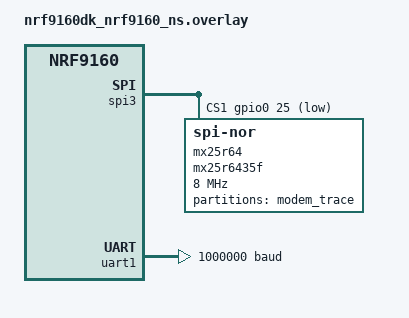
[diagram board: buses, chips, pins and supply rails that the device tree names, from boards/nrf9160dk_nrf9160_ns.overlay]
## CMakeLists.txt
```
#
# Copyright (c) 2022 Nordic Semiconductor
#
# SPDX-License-Identifier: LicenseRef-Nordic-5-Clause
#

cmake_minimum_required(VERSION 3.20.0)

find_package(Zephyr REQUIRED HINTS $ENV{ZEPHYR_BASE})
project(modem_trace_flash)

target_sources(app PRIVATE src/main.c)
```

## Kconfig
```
#
# Copyright (c) 2022 Nordic Semiconductor
#
# SPDX-License-Identifier: LicenseRef-Nordic-5-Clause
#

menu "Modem trace flash backend sample"

endmenu

module = MODEM_TRACE_FLASH_SAMPLE
module-str = Modem trace flash backend
source "$(ZEPHYR_BASE)/subsys/logging/Kconfig.template.log_config"

menu "Zephyr Kernel"
source "Kconfig.zephyr"
endmenu
```

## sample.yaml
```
sample:
  name: Modem trace external flash backend sample
tests:
  sample.cellular.modem_trace_flash:
    sysbuild: true
    build_only: true
    integration_platforms:
      - nrf9151dk/nrf9151/ns
    platform_allow:
      - nrf9151dk/nrf9151/ns
    tags:
      - ci_build
      - sysbuild
      - ci_samples_cellular
```

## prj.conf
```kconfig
#
# Copyright (c) 2022 Nordic Semiconductor ASA
#
# SPDX-License-Identifier: LicenseRef-Nordic-5-Clause
#

# TF-M config
CONFIG_TFM_PROFILE_TYPE_MINIMAL=y

# Allow the application to reboot
CONFIG_REBOOT=y

# Logging
CONFIG_LOG=y
CONFIG_MODEM_TRACE_FLASH_SAMPLE_LOG_LEVEL_DBG=y
CONFIG_MODEM_TRACE_BACKEND_LOG_LEVEL_DBG=y

#CONFIG_NRF_MODEM_LIB_TRACE_BITRATE_LOG=y
#CONFIG_NRF_MODEM_LIB_TRACE_BACKEND_BITRATE_LOG=y

# Modem library
CONFIG_NRF_MODEM_LIB=y

# LTE link control
CONFIG_LTE_LINK_CONTROL=y

# Modem trace
CONFIG_NRF_MODEM_LIB_TRACE=y
CONFIG_NRF_MODEM_LIB_TRACE_BACKEND_FLASH=y

# Flash config
CONFIG_FCB=y
CONFIG_FLASH=y
CONFIG_FLASH_MAP=y

CONFIG_NRF_MODEM_TRACE_FLASH_NOSPACE_SIGNAL=y

# Heap and stacks
CONFIG_HEAP_MEM_POOL_SIZE=2048
CONFIG_MAIN_STACK_SIZE=4096
CONFIG_SYSTEM_WORKQUEUE_STACK_SIZE=4096
CONFIG_NRF_MODEM_LIB_TRACE_STACK_SIZE=4096

# GPIO
CONFIG_GPIO=y

# Library for buttons and LEDs
CONFIG_DK_LIBRARY=y

# UART
CONFIG_SERIAL=y
```

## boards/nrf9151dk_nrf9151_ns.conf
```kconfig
#
# Copyright (c) 2024 Nordic Semiconductor ASA
#
# SPDX-License-Identifier: LicenseRef-Nordic-5-Clause
#

CONFIG_SPI=y
CONFIG_SPI_NOR=y
CONFIG_SPI_NOR_SFDP_DEVICETREE=y

# Reduce flash partition size to reduce erase time and flash usage.
CONFIG_NRF_MODEM_LIB_TRACE_BACKEND_FLASH_PARTITION_SIZE=0x100000
```

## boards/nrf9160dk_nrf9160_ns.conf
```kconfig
#
# Copyright (c) 2022 Nordic Semiconductor ASA
#
# SPDX-License-Identifier: LicenseRef-Nordic-5-Clause
#

CONFIG_SPI=y
CONFIG_SPI_NOR=y
CONFIG_SPI_NOR_SFDP_DEVICETREE=y

# Reduce flash partition size to reduce erase time and flash usage.
CONFIG_NRF_MODEM_LIB_TRACE_BACKEND_FLASH_PARTITION_SIZE=0x100000
```

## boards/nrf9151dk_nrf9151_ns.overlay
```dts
/*
 * Copyright (c) 2024 Nordic Semiconductor ASA
 *
 * SPDX-License-Identifier: LicenseRef-Nordic-5-Clause
 */

/* Enable high drive mode for the SPI3 pins to get a square signal at 8 MHz */
&spi3_default {
	group1 {
		nordic,drive-mode = <NRF_DRIVE_H0H1>;
	};
};

/* Enable UART1 at 1 megabaud for printing modem traces  */
&uart1 {
	status = "okay";
	current-speed = <1000000>;
};

/ {
	aliases {
		ext-flash = &gd25wb256;
	};

	/* Configure partition manager to use gd25wb256 as the external flash */
	chosen {
		nordic,pm-ext-flash = &gd25wb256;
	};
};

&gd25wb256 {
	status = "okay";

	partitions {
		compatible = "fixed-partitions";
		#address-cells = <1>;
		#size-cells = <1>;

		modem_trace: partition@0 {
			reg = <0x0 0x100000>; /* 1 MB */
		};
	};
};

/* Increase modem (shared) memory. */
&sram0_ns_modem {
	reg = <0x0 0x8800>;
	ranges = <0x0 0x0 0x8800>;

	/* Add modem IPC receive. */
	cpucell_cpuapp_ipc_shm_trace: sram0_ns_modem@47a8 {
		reg = <0x47a8 0x4000>;
	};
};

/* Delete Non-Secure application memory so we can move it. */
/delete-node/ &sram0_ns_app;

&sram0_ns {
	sram0_ns_app: sram0_ns@8800 {
		/* Redefine smaller Non-Secure application memory. */
		reg = <0x8800 0x2f800>;
	};
};
```

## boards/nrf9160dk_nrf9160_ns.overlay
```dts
/*
 * Copyright (c) 2022 Nordic Semiconductor ASA
 *
 * SPDX-License-Identifier: LicenseRef-Nordic-5-Clause
 */

#include <samples/cellular/nrf91_no_bootloader_partitions.dtsi>

#include <samples/cellular/nrf91_sram_partitions.dtsi>

/* Increase modem (shared) memory. */
&sram0_ns_modem {
	reg = <0x0 0x8800>;
	ranges = <0x0 0x0 0x8800>;

	cpucell_cpuapp_ipc_shm_trace: sram0_ns_modem@4800 {
		/* Modem trace memory */
		reg = <0x4800 0x4000>;
	};
};

/* Delete Non-Secure application memory so we can move and shrink it. */
/delete-node/ &sram0_ns_app;

&sram0_ns {
	sram0_ns_app: sram0_ns@8800 {
		/* Redefine smaller Non-Secure application memory. */
		reg = <0x8800 0x2f800>;
	};
};

/* The mx25r64 definition would normally be included when specifying a nrf9160dk_nrf9160_ns
 * board revision >= 0.14.0, but unfortunately twister has a bug that prevents the revision
 * overlay to get loaded when testing the sample.
 */
&spi3 {
	cs-gpios = <&arduino_header 16 GPIO_ACTIVE_LOW>, /* D10 */
		   <&gpio0 25 GPIO_ACTIVE_LOW>;

	mx25r64: mx25r6435f@1 {
		compatible = "jedec,spi-nor";
		reg = <1>;
		status = "okay";
		spi-max-frequency = <8000000>;
		jedec-id = [c2 28 17];
		sfdp-bfp = [e5 20 f1 ff ff ff ff 03 44 eb 08 6b 08 3b 04 bb
			    ee ff ff ff ff ff 00 ff ff ff 00 ff 0c 20 0f 52
			    10 d8 00 ff 23 72 f5 00 82 ed 04 cc 44 83 68 44
			    30 b0 30 b0 f7 c4 d5 5c 00 be 29 ff f0 d0 ff ff];
		size = <67108864>;
		mxicy,mx25r-power-mode = "high-performance";

		partitions {
			compatible = "fixed-partitions";
			#address-cells = <1>;
			#size-cells = <1>;

			modem_trace: partition@0 {
				label = "modem_trace";
				reg = <0x00000000 0x400000>;
			};
		};
	};
};

/* Enable UART1 at 1 megabaud for printing modem traces  */
&uart1 {
	status = "okay";
	current-speed = <1000000>;
};

/ {
	aliases {
		ext-flash = &mx25r64;
	};
};
```

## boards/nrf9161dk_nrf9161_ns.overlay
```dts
/*
 * Copyright (c) 2022 Nordic Semiconductor ASA
 *
 * SPDX-License-Identifier: LicenseRef-Nordic-5-Clause
 */

/* Enable high drive mode for the SPI3 pins to get a square signal at 8 MHz */
&spi3_default {
	group1 {
		nordic,drive-mode = <NRF_DRIVE_H0H1>;
	};
};

/* Enable UART1 at 1 megabaud for printing modem traces  */
&uart1 {
	status = "okay";
	current-speed = <1000000>;
};

/ {
	aliases {
		ext-flash = &gd25wb256;
	};

	/* Configure partition manager to use gd25wb256 as the external flash */
	chosen {
		nordic,pm-ext-flash = &gd25wb256;
	};
};

&gd25wb256 {
	status = "okay";

	partitions {
		compatible = "fixed-partitions";
		#address-cells = <1>;
		#size-cells = <1>;

		modem_trace: partition@0 {
			reg = <0x0 0x100000>; /* 1 MB */
		};
	};
};

/* Increase modem (shared) memory. */
&sram0_ns_modem {
	reg = <0x0 0x8800>;
	ranges = <0x0 0x0 0x8800>;

	/* Add modem IPC receive. */
	cpucell_cpuapp_ipc_shm_trace: sram0_ns_modem@47a8 {
		reg = <0x47a8 0x4000>;
	};
};

/* Delete Non-Secure application memory so we can move it. */
/delete-node/ &sram0_ns_app;

&sram0_ns {
	sram0_ns_app: sram0_ns@8800 {
		/* Redefine smaller Non-Secure application memory. */
		reg = <0x8800 0x2f800>;
	};
};
```

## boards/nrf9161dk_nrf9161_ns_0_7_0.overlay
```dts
/*
 * Copyright (c) 2022 Nordic Semiconductor ASA
 *
 * SPDX-License-Identifier: LicenseRef-Nordic-5-Clause
 */

#include <samples/cellular/nrf91_no_bootloader_partitions.dtsi>

#include <samples/cellular/nrf91_sram_partitions.dtsi>

/* Increase modem (shared) memory. */
&sram0_ns_modem {
	reg = <0x0 0x8800>;
	ranges = <0x0 0x0 0x8800>;

	cpucell_cpuapp_ipc_shm_trace: sram0_ns_modem@4800 {
		/* Modem trace memory */
		reg = <0x4800 0x4000>;
	};
};

/* Delete Non-Secure application memory so we can move and shrink it. */
/delete-node/ &sram0_ns_app;

&sram0_ns {
	sram0_ns_app: sram0_ns@8800 {
		/* Redefine smaller Non-Secure application memory. */
		reg = <0x8800 0x2f800>;
	};
};

/delete-node/ &gd25wb256;

/ {
	aliases {
		ext-flash = &gd25lb256;
	};
};

&gd25lb256 {
	status = "okay";

	partitions {
		compatible = "fixed-partitions";
		#address-cells = <1>;
		#size-cells = <1>;

		modem_trace: partition@0 {
			label = "modem_trace";
			reg = <0x00000000 0x400000>;
		};
	};
};

/* Enable UART1 at 1 megabaud for printing modem traces  */
&uart1 {
	status = "okay";
	current-speed = <1000000>;
};
```

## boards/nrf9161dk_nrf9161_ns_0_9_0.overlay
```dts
/*
 * Copyright (c) 2022 Nordic Semiconductor ASA
 *
 * SPDX-License-Identifier: LicenseRef-Nordic-5-Clause
 */

#include <samples/cellular/nrf91_no_bootloader_partitions.dtsi>

#include <samples/cellular/nrf91_sram_partitions.dtsi>

/* Increase modem (shared) memory. */
&sram0_ns_modem {
	reg = <0x0 0x8800>;
	ranges = <0x0 0x0 0x8800>;

	cpucell_cpuapp_ipc_shm_trace: sram0_ns_modem@4800 {
		/* Modem trace memory */
		reg = <0x4800 0x4000>;
	};
};

/* Delete Non-Secure application memory so we can move and shrink it. */
/delete-node/ &sram0_ns_app;

&sram0_ns {
	sram0_ns_app: sram0_ns@8800 {
		/* Redefine smaller Non-Secure application memory. */
		reg = <0x8800 0x2f800>;
	};
};

/* Enable high drive mode for the SPI3 pins to get a square signal at 8 MHz */
&spi3_default {
	group1 {
		nordic,drive-mode = <NRF_DRIVE_H0H1>;
	};
};

/* Enable UART1 at 1 megabaud for printing modem traces  */
&uart1 {
	status = "okay";
	current-speed = <1000000>;
};

/ {
	aliases {
		ext-flash = &gd25wb256;
	};
};

&gd25wb256 {
	status = "okay";

	partitions {
		compatible = "fixed-partitions";
		#address-cells = <1>;
		#size-cells = <1>;

		modem_trace: partition@0 {
			label = "modem_trace";
			reg = <0x00000000 0x400000>;
		};
	};
};
```

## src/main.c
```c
/*
 * Copyright (c) 2022 Nordic Semiconductor ASA
 *
 * SPDX-License-Identifier: LicenseRef-Nordic-5-Clause
 */

#include <zephyr/kernel.h>
#include <zephyr/logging/log.h>
#include <zephyr/device.h>
#include <zephyr/drivers/uart.h>
#include <modem/lte_lc.h>
#include <modem/nrf_modem_lib.h>
#include <modem/nrf_modem_lib_trace.h>
#include <nrf_modem.h>
#include <nrf_modem_at.h>
#include <dk_buttons_and_leds.h>

#include <zephyr/sys/reboot.h>

LOG_MODULE_REGISTER(modem_trace_flash_sample, CONFIG_MODEM_TRACE_FLASH_SAMPLE_LOG_LEVEL);

#define UART1_DT_NODE DT_NODELABEL(uart1)

#define READ_BUF_SIZE CONFIG_NRF_MODEM_LIB_TRACE_BACKEND_FLASH_BUF_SIZE

static const struct device *const uart_dev = DEVICE_DT_GET(UART1_DT_NODE);

NRF_MODEM_LIB_ON_CFUN(cfun_hook, on_cfun, NULL);

/* Callback for when modem functional mode is changed */
static void on_cfun(int mode, void *context)
{
	LOG_INF("LTE mode changed to %d\n", mode);
}

static void print_uart1(char *buf, int len)
{
	if (!device_is_ready(uart_dev)) {
		LOG_ERR("uart1 device not found/ready!");
		return;
	}
	for (int i = 0; i < len; i++) {
		uart_poll_out(uart_dev, buf[i]);
	}
}

static void print_traces(void)
{
	uint8_t read_buf[READ_BUF_SIZE];
	int ret;
	size_t read_offset = 0;

	ret = nrf_modem_lib_trace_data_size();
	printk("Reading out %d bytes of trace data\n", ret);

	/* Read out the trace data from flash */
	while (ret > 0) {
		ret = nrf_modem_lib_trace_read(read_buf, READ_BUF_SIZE);
		if (ret < 0) {
			if (ret == -ENODATA) {
				break;
			}
			LOG_ERR("Error reading modem traces: %d", ret);
			break;
		}
		if (ret == 0) {
			LOG_DBG("No more traces to read from flash");
			break;
		}

		read_offset += ret;
		print_uart1(read_buf, ret);
	}
	LOG_INF("Total trace bytes read from flash: %d", read_offset);
}

static void button_handler(uint32_t button_states, uint32_t has_changed)
{
	if (has_changed & button_states & DK_BTN1_MSK) {
		printk("Button 1 pressed - dumping traces to uart1\n");
		print_traces();
	}

	if (has_changed & button_states & DK_BTN2_MSK) {
		printk("Button 2 pressed - restarting application\n");
		sys_reboot(SYS_REBOOT_WARM);
	}
}

void nrf_modem_lib_trace_callback(enum nrf_modem_lib_trace_event evt)
{
	switch (evt) {
	case NRF_MODEM_LIB_TRACE_EVT_FULL:
		printk("Modem trace backend is full\n");
		break;
	default:
		printk("Received trace callback %d\n", evt);
		break;
	}
}

int main(void)
{
	int err;

	LOG_INF("Modem trace backend sample started\n");

	err = dk_buttons_init(button_handler);
	if (err) {
		LOG_ERR("Failed to initialize DK buttons library, error: %d\n", err);
	}

	if (!device_is_ready(uart_dev)) {
		LOG_ERR("uart1 device not found/ready!");
	}

	nrf_modem_lib_init();

	err = nrf_modem_lib_trace_level_set(NRF_MODEM_LIB_TRACE_LEVEL_FULL);
	if (err) {
		LOG_ERR("Failed to enable modem traces");
	}

	LOG_INF("Connecting to network\n");

	err = lte_lc_func_mode_set(LTE_LC_FUNC_MODE_NORMAL);
	if (err) {
		LOG_ERR("Failed to change LTE mode, err %d\n", err);
		return 0;
	}

	/* Leave the modem on for 10 seconds */
	k_sleep(K_SECONDS(10));

	err = lte_lc_func_mode_set(LTE_LC_FUNC_MODE_POWER_OFF);
	if (err) {
		LOG_ERR("Failed to change LTE mode, err %d\n", err);
		return 0;
	}

	/* Give the modem some time to turn off and receive traces */
	k_sleep(K_SECONDS(5));

	err = nrf_modem_lib_trace_level_set(NRF_MODEM_LIB_TRACE_LEVEL_OFF);
	if (err) {
		LOG_ERR("Failed to turn off modem traces\n");
	} else {
		LOG_INF("Turned off modem traces\n");
	}

	/* Changing the trace level to off will produce some traces, so sleep long enough to
	 * receive those as well.
	 */
	k_sleep(K_SECONDS(1));

	LOG_INF("Press button 1 to print traces to UART");
	LOG_INF("Press button 2 to restart application (warm boot)");

	return 0;
}
```
